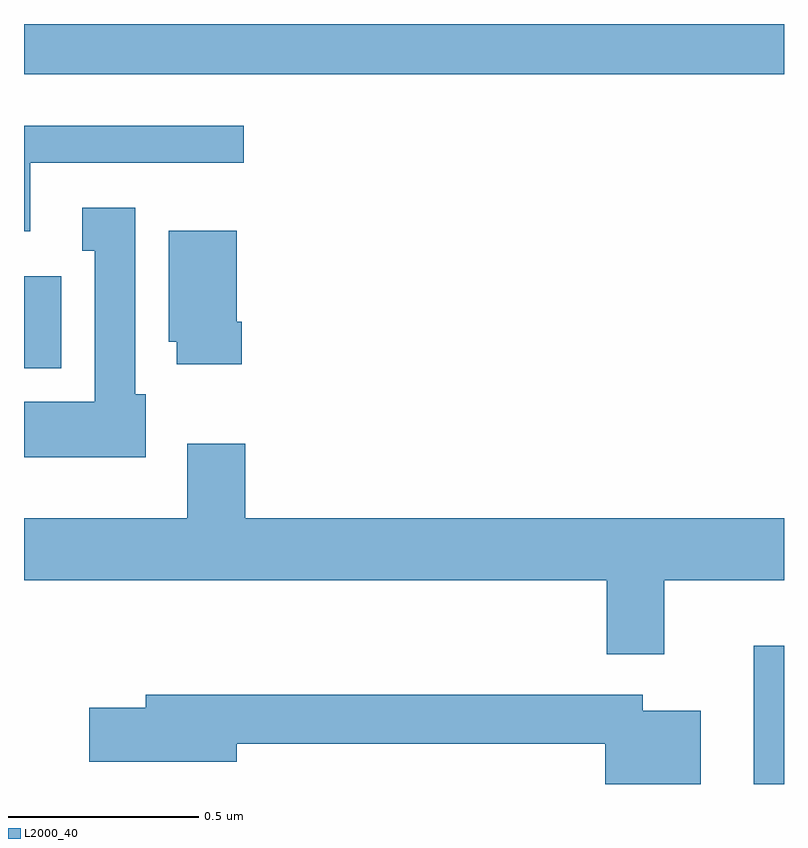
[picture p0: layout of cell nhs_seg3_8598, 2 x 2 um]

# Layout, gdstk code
import gdstk
lib = gdstk.Library(unit=1e-6, precision=1e-09)
def R(c, l, rs):  # rectangles x0, y0, x1, y1
    for r in rs: c.add(gdstk.rectangle(r[:2], r[2:], *l))
def P(c, l, *ps):  # polygons
    for p in ps: c.add(gdstk.Polygon(p, *l))
L2000_40 = (2000, 40)

nhs_seg3_8598 = lib.new_cell('nhs_seg3_8598')
R(nhs_seg3_8598, L2000_40, [(219.92,680.4,220,680.764), (218,681.494,218.098,681.736), (218,682.268,220,682.4)])
P(nhs_seg3_8598, L2000_40, [(218.017,682.035),(218.578,682.035),(218.578,682.132),(218,682.132),(218,681.854),(218.017,681.854)],
  [(218.32,681.426),(218.293,681.426),(218.293,681.916),(218.153,681.916),(218.153,681.803),(218.186,681.803),(218.186,681.406),(218,681.406),(218,681.26),(218.32,681.26)],
  [(218.573,681.616),(218.56,681.616),(218.56,681.856),(218.381,681.856),(218.381,681.564),(218.402,681.564),(218.402,681.504),(218.573,681.504)],
  [(219.685,680.936),(220,680.936),(220,681.1),(218.582,681.1),(218.582,681.295),(218.429,681.295),(218.429,681.1),(218,681.1),(218,680.936),(219.533,680.936),(219.533,680.742),(219.685,680.742)],
  [(219.781,680.593),(219.628,680.593),(219.628,680.635),(218.321,680.635),(218.321,680.601),(218.172,680.601),(218.172,680.459),(218.56,680.459),(218.56,680.506),(219.53,680.506),(219.53,680.4),(219.781,680.4)])

lib.write_gds('nhs_seg3_8598.gds')
